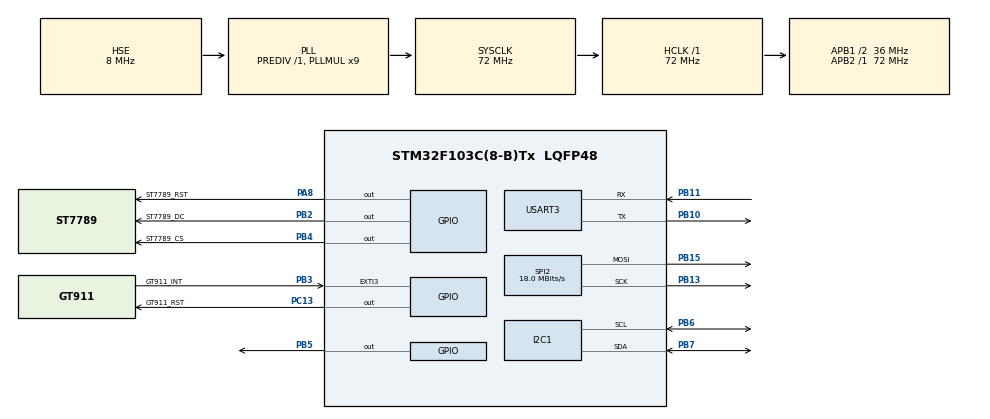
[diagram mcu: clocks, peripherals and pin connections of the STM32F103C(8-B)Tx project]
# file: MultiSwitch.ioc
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Dma.I2C1_RX.0.Direction=DMA_PERIPH_TO_MEMORY
Dma.I2C1_RX.0.Instance=DMA1_Channel7
Dma.I2C1_RX.0.MemDataAlignment=DMA_MDATAALIGN_BYTE
Dma.I2C1_RX.0.MemInc=DMA_MINC_ENABLE
Dma.I2C1_RX.0.Mode=DMA_NORMAL
Dma.I2C1_RX.0.PeriphDataAlignment=DMA_PDATAALIGN_BYTE
Dma.I2C1_RX.0.PeriphInc=DMA_PINC_DISABLE
Dma.I2C1_RX.0.Priority=DMA_PRIORITY_LOW
Dma.I2C1_TX.1.Direction=DMA_MEMORY_TO_PERIPH
Dma.I2C1_TX.1.Instance=DMA1_Channel6
Dma.I2C1_TX.1.MemDataAlignment=DMA_MDATAALIGN_BYTE
Dma.I2C1_TX.1.MemInc=DMA_MINC_ENABLE
Dma.I2C1_TX.1.Mode=DMA_NORMAL
Dma.I2C1_TX.1.PeriphDataAlignment=DMA_PDATAALIGN_BYTE
Dma.I2C1_TX.1.PeriphInc=DMA_PINC_DISABLE
Dma.I2C1_TX.1.Priority=DMA_PRIORITY_LOW
Dma.Request0=I2C1_RX
Dma.Request1=I2C1_TX
Mcu.Family=STM32F1
Mcu.Name=STM32F103C(8-B)Tx
Mcu.Package=LQFP48
NVIC.DMA1_Channel6_IRQn=true\:0\:0\:false\:false\:true\:false\:true\:true
NVIC.DMA1_Channel7_IRQn=true\:0\:0\:false\:false\:true\:false\:true\:true
NVIC.EXTI3_IRQn=true\:0\:0\:false\:false\:true\:true\:true\:true
NVIC.I2C1_EV_IRQn=true\:0\:0\:false\:false\:true\:true\:true\:true
NVIC.PriorityGroup=NVIC_PRIORITYGROUP_4
PA13.Mode=Serial_Wire
PA13.Signal=SYS_JTMS-SWDIO
PA14.Mode=Serial_Wire
PA14.Signal=SYS_JTCK-SWCLK
PA8.GPIO_Label=ST7789_RST
PA8.Signal=GPIO_Output
PB10.Mode=Asynchronous
PB10.Signal=USART3_TX
PB11.Mode=Asynchronous
PB11.Signal=USART3_RX
PB13.Mode=TX_Only_Simplex_Unidirect_Master
PB13.Signal=SPI2_SCK
PB15.Mode=TX_Only_Simplex_Unidirect_Master
PB15.Signal=SPI2_MOSI
PB2.GPIO_Label=ST7789_DC
PB2.Signal=GPIO_Output
PB3.GPIO_Label=GT911_INT
PB3.Signal=GPXTI3
PB4.GPIO_Label=ST7789_CS
PB4.Signal=GPIO_Output
PB5.Signal=GPIO_Output
PB6.Mode=I2C
PB6.Signal=I2C1_SCL
PB7.Mode=I2C
PB7.Signal=I2C1_SDA
PC13-TAMPER-RTC.GPIO_Label=GT911_RST
PC13-TAMPER-RTC.Signal=GPIO_Output
PC14-OSC32_IN.Mode=LSE-External-Oscillator
PC14-OSC32_IN.Signal=RCC_OSC32_IN
PC15-OSC32_OUT.Mode=LSE-External-Oscillator
PC15-OSC32_OUT.Signal=RCC_OSC32_OUT
PD0-OSC_IN.Mode=HSE-External-Oscillator
PD0-OSC_IN.Signal=RCC_OSC_IN
PD1-OSC_OUT.Mode=HSE-External-Oscillator
PD1-OSC_OUT.Signal=RCC_OSC_OUT
ProjectManager.HeapSize=0x200
ProjectManager.StackSize=0x400
ProjectManager.TargetToolchain=STM32CubeIDE
RCC.AHBFreq_Value=72000000
RCC.APB1CLKDivider=RCC_HCLK_DIV2
RCC.APB1Freq_Value=36000000
RCC.APB1TimFreq_Value=72000000
RCC.APB2Freq_Value=72000000
RCC.APB2TimFreq_Value=72000000
RCC.HCLKFreq_Value=72000000
RCC.PLLMUL=RCC_PLL_MUL9
RCC.PLLSourceVirtual=RCC_PLLSOURCE_HSE
RCC.SYSCLKFreq_VALUE=72000000
RCC.SYSCLKSource=RCC_SYSCLKSOURCE_PLLCLK
RCC.USBFreq_Value=72000000
SPI2.CLKPhase=SPI_PHASE_2EDGE
SPI2.CLKPolarity=SPI_POLARITY_HIGH
SPI2.CalculateBaudRate=18.0 MBits/s
SPI2.Direction=SPI_DIRECTION_2LINES
SPI2.Mode=SPI_MODE_MASTER
SPI2.VirtualType=VM_MASTER
USART3.VirtualMode=VM_ASYNC
board=custom

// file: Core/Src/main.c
/* USER CODE BEGIN Header */
/**
  ******************************************************************************
  * @file           : main.c
  * @brief          : Main program body
  ******************************************************************************
  * @attention
  *
  * Copyright (c) 2023 STMicroelectronics.
  * All rights reserved.
  *
  * This software is licensed under terms that can be found in the LICENSE file
  * in the root directory of this software component.
  * If no LICENSE file comes with this software, it is provided AS-IS.
  *
  ******************************************************************************
  */
/* USER CODE END Header */
#include "main.h"

/* USER CODE BEGIN Includes */
#include "stdio.h"
#include "st7789.h"
#include "fonts.h"
#include "bitmap.h"

/* USER CODE END Includes */

I2C_HandleTypeDef hi2c1;
DMA_HandleTypeDef hdma_i2c1_rx;
DMA_HandleTypeDef hdma_i2c1_tx;

SPI_HandleTypeDef hspi2;

UART_HandleTypeDef huart3;

void SystemClock_Config(void);
static void MX_GPIO_Init(void);
static void MX_DMA_Init(void);
static void MX_I2C1_Init(void);
static void MX_SPI2_Init(void);
static void MX_USART3_UART_Init(void);

/* USER CODE BEGIN 0 */

#ifdef __GNUC__
/* With GCC, small printf (option LD Linker->Libraries->Small printf
   set to 'Yes') calls __io_putchar() */
#define PUTCHAR_PROTOTYPE int __io_putchar(int ch)
#else
#define PUTCHAR_PROTOTYPE int fputc(int ch, FILE *f)
#endif /* __GNUC__ */

/**
  * @brief  Retargets the C library printf function to the USART.
  * @param  None
  * @retval None
  */
PUTCHAR_PROTOTYPE
{
  /* Place your implementation of fputc here */
  /* e.g. write a character to the USART3 and Loop until the end of transmission */
  HAL_UART_Transmit(&huart3, (uint8_t *)&ch, 1, 0xFFFF);

  return ch;
}

/* USER CODE END 0 */

int main(void)
{

  /* MCU Configuration--------------------------------------------------------*/

  /* Reset of all peripherals, Initializes the Flash interface and the Systick. */
  HAL_Init();

  /* Configure the system clock */
  SystemClock_Config();

  /* Initialize all configured peripherals */
  MX_GPIO_Init();
  MX_DMA_Init();
  MX_I2C1_Init();
  MX_SPI2_Init();
  MX_USART3_UART_Init();
  /* USER CODE BEGIN 2 */

  if (HAL_I2C_IsDeviceReady(&hi2c1, 0x5D<<1, 3, 0xFF) != HAL_OK)
	  printf("NOP\n");
  else
	  printf("GT911 was found\n");
  HAL_Delay(1000);

  HAL_GPIO_WritePin(GPIOB, GPIO_PIN_5, GPIO_PIN_SET);

	ST7789_Init();
	ST7789_rotation( 2 );

	ST7789_FillScreen( RGB565(255, 0, 0) );
	//ST7789_print( 60, 20, RGB565(255, 255, 255) , RGB565(255, 0, 0) , 1, &Font_16x26, 1, "STM32 Display" );
	ST7789_DrawBitmap( 70, 100, logo, 174, 44, RGB565(255, 255, 255) );

	//ST7789_DrawImage( 40, 0, 240, 240, img1 );

	HAL_Delay (4000);

  /* USER CODE END 2 */

  /* Infinite loop */
  /* USER CODE BEGIN WHILE */
  while (1)
  {
/*
	  // закрашиваем весь экран указаным цветом
	  ST7789_FillScreen( RGB565(255, 0, 0) );
	  HAL_Delay (2000);
	  // закрашиваем весь экран указаным цветом
	  ST7789_FillScreen( RGB565(0, 255, 0) );
	  HAL_Delay (2000);
	  // закрашиваем весь экран указаным цветом
	  ST7789_FillScreen( RGB565(0, 0, 255) );
	  HAL_Delay (2000);

	  // прямоугольник закрашеный ( координата X и Y ( начиная с 0 ) ширина и высота в пикселях )
	  ST7789_DrawRectangleFilled(0, 0, 320, 240, RGB565(255, 255, 255)) ;
	  HAL_Delay (1000);

	  for( uint8_t i = 0; i< 240; i+=3){
		  // прямоугольник закрашеный ( координата X и Y ( начиная с 0 ) ширина и высота в пикселях )
		  ST7789_DrawRectangleFilled(i, i, 320-i, 240-i, RGB565(i/2, 255-i, 0+i)) ;
	  }

	  for( uint8_t i = 0; i< 120; i+=3){
		  // прямоугольник пустотелый ( координата X и Y ( начиная с 0 ) ширина и высота в пикселях )
		  ST7789_DrawRectangle(i, i, 320-i, 240-i, RGB565(255, 0, 0)) ;
	  }
	  HAL_Delay (2000);

	  // рисуем цветную иконку. параметры координаты х и у ( начиная с 0 ), размер иконки шир и выс, имя иконки ( массив )
	  //ST7789_DrawImage( 0, 0, 240, 240, img1 );
	  //HAL_Delay (2000);

	  // рисуем цветную иконку. параметры координаты х и у ( начиная с 0 ), размер иконки шир и выс, имя иконки ( массив )
	  //ST7789_DrawImage( 0, 0, 240, 240, img2 );
	  //HAL_Delay (2000);

	  // рисуем цветную иконку. параметры координаты х и у ( начиная с 0 ), размер иконки шир и выс, имя иконки ( массив )
	  //ST7789_DrawImage( 0, 0, 240, 240, img3 );
	  //HAL_Delay (2000);

	  // закрашиваем весь экран указаным цветом
	  ST7789_FillScreen( RGB565(0, 10, 100) );
	  HAL_Delay (2000);

	  // печатаем символ ( один ) параметры: х,  у, ( начиная с 0 ),  цвет символа, цвет фона, вкл/выкл фон, размер шрифта, множитель шрифта (увеличивает в х раз шрифт ), сам символ ( поддерживает кириллицу )
	  ST7789_DrawChar( 20, 20, RGB565( 255, 255, 255 ) , RGB565( 0, 10, 10 ) , 0, &Font_16x26, 3, 'F' );
	  HAL_Delay (2000);

	  // печатаем строку параметры: х,  у, ( начиная с 0 ), цвет строки, цвет фона, вкл/выкл фон, размер шрифта, множитель шрифта (увеличивает в х раз шрифт ), сама строка ( поддерживает кириллицу )
	  ST7789_print( 50, 20, RGB565(255, 255, 255) , RGB565(0, 10, 100) , 1, &Font_16x26, 1, "STM32 TFT" );
	  HAL_Delay (2000);

	  // печатаем строку параметры: х,  у, ( начиная с 0 ),  цвет строки, цвет фона, вкл/выкл фон, размер шрифта, множитель шрифта (увеличивает в х раз шрифт ), сама строка ( поддерживает кириллицу )
	  ST7789_print( 10, 160, RGB565(255, 0, 0) , RGB565(0, 10, 100) , 1, &Font_11x18, 1, "Классный дисплей !!!" );
	  HAL_Delay (2000);

	  // печатаем строку параметры: х,  у, ( начиная с 0 ),  цвет строки, цвет фона, вкл/выкл фон, размер шрифта, множитель шрифта (увеличивает в х раз шрифт ), сама строка ( поддерживает кириллицу )
	  ST7789_print( 8, 200, RGB565(0, 255, 0) , RGB565(0, 10, 100) , 1, &Font_7x9, 2, "ST7789 : 240x320" );
	  HAL_Delay (2000);

	  // рисуем цветную иконку. параметры координаты х и у ( начиная с 0 ), размер иконки шир и выс, имя иконки ( массив )
	  //ST7789_DrawImage( 80, 65, 85, 80, logoRGB );
	  //HAL_Delay (2000);

	  // очистка экрана - закрашивает экран цветом черный
	  ST7789_Clear();
	  HAL_Delay (2000);

	  // рисуем монохромную иконку. параметры координаты х и у ( начиная с 0 ), имя иконки ( массив ), размер иконки шир и выс, цвет отображения
	  ST7789_DrawBitmap( 60, 200, logo, 174, 44, RGB565(255, 0, 0) );
	  HAL_Delay (2000);

	  // очистка экрана - закрашивает экран цветом черный
	  ST7789_Clear();
	  HAL_Delay (2000);

	  // круг пустотелый
	  ST7789_DrawCircle(50, 100, 50, RGB565(255, 0, 255));
	  HAL_Delay (2000);

	  // круг закрашеный
	  ST7789_DrawCircleFilled(50, 290, 20, RGB565(255, 40, 255)) ;
	  HAL_Delay (2000);

	  // линия
	  ST7789_DrawLine(1, 319, 239, 319, RGB565(255, 255, 0));
	  HAL_Delay (2000);

	  // прямоугольник закрашеный
	  ST7789_DrawRectangleFilled(90, 265, 140, 310, RGB565(0, 255, 0)) ;
	  HAL_Delay (2000);

	  // прямоугольник пустотелый
	  ST7789_DrawRectangle(160, 265, 220, 309, RGB565(255, 255, 255)) ;
	  HAL_Delay (2000);

	  // рисуем треугольник пустотелый
	  ST7789_DrawTriangle(60, 40, 150, 100, 200, 200, RGB565(100, 255, 150) );
	  HAL_Delay (2000);

	  // рисуем треугольник закрашеный
	  ST7789_DrawFilledTriangle(20, 40, 150, 100, 200, 200, RGB565(100, 255, 150) );
	  HAL_Delay (2000);

	  // рисуем прямоугольник с закругленными краями ( закрашенный )
	  ST7789_DrawFillRoundRect(10, 10, 50, 50, 10, RGB565(100, 255, 150));
	  HAL_Delay (2000);

	  // рисуем прямоугольник с закругленными краями ( пустотелый )
	  ST7789_DrawRoundRect(10, 10, 50, 50, 10, RGB565(100, 255, 150));
	  HAL_Delay (2000);

	  // рисуем полукруг ( правое или левое полушарие (параметр 1 или 2) ) закрашенный
	  ST7789_DrawFillCircleHelper(30, 30, 20 , 1, 0, RGB565(100, 255, 150));
	  HAL_Delay (2000);

	  // рисуем дугу ( четверть круга (параметр 1, 2, 4, 8) ) шириной 1 пиксель
	  ST7789_DrawCircleHelper(30, 30, 20 , 1, RGB565(100, 255, 150));
	  HAL_Delay (2000);

	  // переход в спящий режим
	  ST7789_SleepModeEnter();
	  HAL_Delay (2000);

	  // выход их спящего режима
	  ST7789_SleepModeExit();
	  HAL_Delay (2000);

	  // вкл/выкл дисплея 0-выкл 1- вкл
	  ST7789_DisplayPower( 1 );
	  HAL_Delay (2000);

	  // инверсия цветов 0-вкл  1-выкл
	  ST7789_InversionMode(1);
	  HAL_Delay (2000);
*/
    /* USER CODE END WHILE */

  }
}

void SystemClock_Config(void)
{
  RCC_OscInitTypeDef RCC_OscInitStruct = {0};
  RCC_ClkInitTypeDef RCC_ClkInitStruct = {0};

  /** Initializes the RCC Oscillators according to the specified parameters
  * in the RCC_OscInitTypeDef structure.
  */
  RCC_OscInitStruct.OscillatorType = RCC_OSCILLATORTYPE_HSE;
  RCC_OscInitStruct.HSEState = RCC_HSE_ON;
  RCC_OscInitStruct.HSEPredivValue = RCC_HSE_PREDIV_DIV1;
  RCC_OscInitStruct.HSIState = RCC_HSI_ON;
  RCC_OscInitStruct.PLL.PLLState = RCC_PLL_ON;
  RCC_OscInitStruct.PLL.PLLSource = RCC_PLLSOURCE_HSE;
  RCC_OscInitStruct.PLL.PLLMUL = RCC_PLL_MUL9;
  if (HAL_RCC_OscConfig(&RCC_OscInitStruct) != HAL_OK)
  {
    Error_Handler();
  }

  /** Initializes the CPU, AHB and APB buses clocks
  */
  RCC_ClkInitStruct.ClockType = RCC_CLOCKTYPE_HCLK|RCC_CLOCKTYPE_SYSCLK
                              |RCC_CLOCKTYPE_PCLK1|RCC_CLOCKTYPE_PCLK2;
  RCC_ClkInitStruct.SYSCLKSource = RCC_SYSCLKSOURCE_PLLCLK;
  RCC_ClkInitStruct.AHBCLKDivider = RCC_SYSCLK_DIV1;
  RCC_ClkInitStruct.APB1CLKDivider = RCC_HCLK_DIV2;
  RCC_ClkInitStruct.APB2CLKDivider = RCC_HCLK_DIV1;

  if (HAL_RCC_ClockConfig(&RCC_ClkInitStruct, FLASH_LATENCY_2) != HAL_OK)
  {
    Error_Handler();
  }
}

static void MX_I2C1_Init(void)
{

  hi2c1.Instance = I2C1;
  hi2c1.Init.ClockSpeed = 100000;
  hi2c1.Init.DutyCycle = I2C_DUTYCYCLE_2;
  hi2c1.Init.OwnAddress1 = 0;
  hi2c1.Init.AddressingMode = I2C_ADDRESSINGMODE_7BIT;
  hi2c1.Init.DualAddressMode = I2C_DUALADDRESS_DISABLE;
  hi2c1.Init.OwnAddress2 = 0;
  hi2c1.Init.GeneralCallMode = I2C_GENERALCALL_DISABLE;
  hi2c1.Init.NoStretchMode = I2C_NOSTRETCH_DISABLE;
  if (HAL_I2C_Init(&hi2c1) != HAL_OK)
  {
    Error_Handler();
  }

}

static void MX_SPI2_Init(void)
{

  /* SPI2 parameter configuration*/
  hspi2.Instance = SPI2;
  hspi2.Init.Mode = SPI_MODE_MASTER;
  hspi2.Init.Direction = SPI_DIRECTION_2LINES;
  hspi2.Init.DataSize = SPI_DATASIZE_8BIT;
  hspi2.Init.CLKPolarity = SPI_POLARITY_HIGH;
  hspi2.Init.CLKPhase = SPI_PHASE_2EDGE;
  hspi2.Init.NSS = SPI_NSS_SOFT;
  hspi2.Init.BaudRatePrescaler = SPI_BAUDRATEPRESCALER_2;
  hspi2.Init.FirstBit = SPI_FIRSTBIT_MSB;
  hspi2.Init.TIMode = SPI_TIMODE_DISABLE;
  hspi2.Init.CRCCalculation = SPI_CRCCALCULATION_DISABLE;
  hspi2.Init.CRCPolynomial = 10;
  if (HAL_SPI_Init(&hspi2) != HAL_OK)
  {
    Error_Handler();
  }

}

static void MX_USART3_UART_Init(void)
{

  huart3.Instance = USART3;
  huart3.Init.BaudRate = 115200;
  huart3.Init.WordLength = UART_WORDLENGTH_8B;
  huart3.Init.StopBits = UART_STOPBITS_1;
  huart3.Init.Parity = UART_PARITY_NONE;
  huart3.Init.Mode = UART_MODE_TX_RX;
  huart3.Init.HwFlowCtl = UART_HWCONTROL_NONE;
  huart3.Init.OverSampling = UART_OVERSAMPLING_16;
  if (HAL_UART_Init(&huart3) != HAL_OK)
  {
    Error_Handler();
  }

}

static void MX_DMA_Init(void)
{

  /* DMA controller clock enable */
  __HAL_RCC_DMA1_CLK_ENABLE();

  /* DMA interrupt init */
  /* DMA1_Channel6_IRQn interrupt configuration */
  HAL_NVIC_SetPriority(DMA1_Channel6_IRQn, 0, 0);
  HAL_NVIC_EnableIRQ(DMA1_Channel6_IRQn);
  /* DMA1_Channel7_IRQn interrupt configuration */
  HAL_NVIC_SetPriority(DMA1_Channel7_IRQn, 0, 0);
  HAL_NVIC_EnableIRQ(DMA1_Channel7_IRQn);

}

static void MX_GPIO_Init(void)
{
  GPIO_InitTypeDef GPIO_InitStruct = {0};

  /* GPIO Ports Clock Enable */
  __HAL_RCC_GPIOC_CLK_ENABLE();
  __HAL_RCC_GPIOD_CLK_ENABLE();
  __HAL_RCC_GPIOB_CLK_ENABLE();
  __HAL_RCC_GPIOA_CLK_ENABLE();

  /*Configure GPIO pin Output Level */
  HAL_GPIO_WritePin(GT911_RST_GPIO_Port, GT911_RST_Pin, GPIO_PIN_RESET);

  /*Configure GPIO pin Output Level */
  HAL_GPIO_WritePin(GPIOB, ST7789_DC_Pin|ST7789_CS_Pin|GPIO_PIN_5, GPIO_PIN_RESET);

  /*Configure GPIO pin Output Level */
  HAL_GPIO_WritePin(ST7789_RST_GPIO_Port, ST7789_RST_Pin, GPIO_PIN_RESET);

  /*Configure GPIO pin : GT911_RST_Pin */
  GPIO_InitStruct.Pin = GT911_RST_Pin;
  GPIO_InitStruct.Mode = GPIO_MODE_OUTPUT_PP;
  GPIO_InitStruct.Pull = GPIO_NOPULL;
  GPIO_InitStruct.Speed = GPIO_SPEED_FREQ_LOW;
  HAL_GPIO_Init(GT911_RST_GPIO_Port, &GPIO_InitStruct);

  /*Configure GPIO pins : ST7789_DC_Pin ST7789_CS_Pin PB5 */
  GPIO_InitStruct.Pin = ST7789_DC_Pin|ST7789_CS_Pin|GPIO_PIN_5;
  GPIO_InitStruct.Mode = GPIO_MODE_OUTPUT_PP;
  GPIO_InitStruct.Pull = GPIO_NOPULL;
  GPIO_InitStruct.Speed = GPIO_SPEED_FREQ_LOW;
  HAL_GPIO_Init(GPIOB, &GPIO_InitStruct);

  /*Configure GPIO pin : ST7789_RST_Pin */
  GPIO_InitStruct.Pin = ST7789_RST_Pin;
  GPIO_InitStruct.Mode = GPIO_MODE_OUTPUT_PP;
  GPIO_InitStruct.Pull = GPIO_NOPULL;
  GPIO_InitStruct.Speed = GPIO_SPEED_FREQ_LOW;
  HAL_GPIO_Init(ST7789_RST_GPIO_Port, &GPIO_InitStruct);

  /*Configure GPIO pin : GT911_INT_Pin */
  GPIO_InitStruct.Pin = GT911_INT_Pin;
  GPIO_InitStruct.Mode = GPIO_MODE_IT_RISING;
  GPIO_InitStruct.Pull = GPIO_NOPULL;
  HAL_GPIO_Init(GT911_INT_GPIO_Port, &GPIO_InitStruct);

  /* EXTI interrupt init*/
  HAL_NVIC_SetPriority(EXTI3_IRQn, 0, 0);
  HAL_NVIC_EnableIRQ(EXTI3_IRQn);

}

void Error_Handler(void)
{
  __disable_irq();
  while (1)
  {
  }
}
